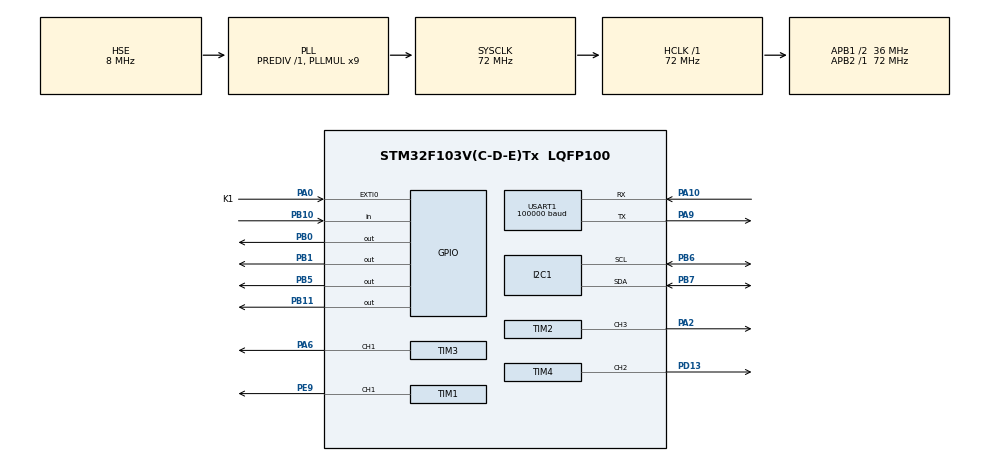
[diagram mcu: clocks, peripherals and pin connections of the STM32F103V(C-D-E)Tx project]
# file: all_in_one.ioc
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Mcu.Family=STM32F1
Mcu.Name=STM32F103V(C-D-E)Tx
Mcu.Package=LQFP100
NVIC.EXTI0_IRQn=true\:0\:0\:false\:false\:true\:true\:true
NVIC.PriorityGroup=NVIC_PRIORITYGROUP_4
NVIC.TIM6_IRQn=true\:0\:0\:false\:false\:true\:true\:true
NVIC.USART1_IRQn=true\:0\:0\:false\:false\:true\:true\:true
OSC_IN.Mode=HSE-External-Oscillator
OSC_IN.Signal=RCC_OSC_IN
OSC_OUT.Mode=HSE-External-Oscillator
OSC_OUT.Signal=RCC_OSC_OUT
PA0-WKUP.GPIO_Label=K1
PA0-WKUP.GPIO_ModeDefaultEXTI=GPIO_MODE_IT_RISING
PA0-WKUP.Signal=GPXTI0
PA10.Mode=Asynchronous
PA10.Signal=USART1_RX
PA13.Mode=Serial_Wire
PA13.Signal=SYS_JTMS-SWDIO
PA14.Mode=Serial_Wire
PA14.Signal=SYS_JTCK-SWCLK
PA2.Signal=S_TIM2_CH3
PA6.Signal=S_TIM3_CH1
PA9.Mode=Asynchronous
PA9.Signal=USART1_TX
PB0.Signal=GPIO_Output
PB1.Signal=GPIO_Output
PB10.Signal=GPIO_Input
PB11.GPIO_PuPd=GPIO_PULLDOWN
PB11.GPIO_Speed=GPIO_SPEED_FREQ_HIGH
PB11.Signal=GPIO_Output
PB5.Signal=GPIO_Output
PB6.Mode=I2C
PB6.Signal=I2C1_SCL
PB7.Mode=I2C
PB7.Signal=I2C1_SDA
PC14-OSC32_IN.Mode=LSE-External-Oscillator
PC14-OSC32_IN.Signal=RCC_OSC32_IN
PC15-OSC32_OUT.Mode=LSE-External-Oscillator
PC15-OSC32_OUT.Signal=RCC_OSC32_OUT
PD13.Signal=S_TIM4_CH2
PE9.Signal=S_TIM1_CH1
ProjectManager.HeapSize=0x200
ProjectManager.StackSize=0x400
ProjectManager.TargetToolchain=MDK-ARM V5
RCC.AHBFreq_Value=72000000
RCC.APB1CLKDivider=RCC_HCLK_DIV2
RCC.APB1Freq_Value=36000000
RCC.APB1TimFreq_Value=72000000
RCC.APB2Freq_Value=72000000
RCC.APB2TimFreq_Value=72000000
RCC.HCLKFreq_Value=72000000
RCC.PLLMUL=RCC_PLL_MUL9
RCC.PLLSourceVirtual=RCC_PLLSOURCE_HSE
RCC.SYSCLKFreq_VALUE=72000000
RCC.SYSCLKSource=RCC_SYSCLKSOURCE_PLLCLK
RCC.USBFreq_Value=72000000
SH.S_TIM1_CH1.0=TIM1_CH1,PWM Generation1 CH1
SH.S_TIM2_CH3.0=TIM2_CH3,PWM Generation3 CH3
SH.S_TIM3_CH1.0=TIM3_CH1,PWM Generation1 CH1
SH.S_TIM4_CH2.0=TIM4_CH2,PWM Generation2 CH2
TIM1.Channel-PWM\ Generation1\ CH1=TIM_CHANNEL_1
TIM1.Period=4000-1
TIM1.Prescaler=72-1
TIM2.Channel-PWM\ Generation3\ CH3=TIM_CHANNEL_3
TIM2.Period=4000-1
TIM2.Prescaler=72-1
TIM3.Channel-PWM\ Generation1\ CH1=TIM_CHANNEL_1
TIM3.Period=4000-1
TIM3.Prescaler=72-1
TIM4.Channel-PWM\ Generation2\ CH2=TIM_CHANNEL_2
TIM4.Period=4000-1
TIM4.Prescaler=72-1
TIM6.Period=1000-1
TIM6.Prescaler=72-1
USART1.BaudRate=100000
USART1.Parity=PARITY_EVEN
USART1.VirtualMode=VM_ASYNC
USART1.WordLength=WORDLENGTH_9B
VP_TIM1_VS_ClockSourceINT.Mode=Internal
VP_TIM2_VS_ClockSourceINT.Mode=Internal
VP_TIM3_VS_ClockSourceINT.Mode=Internal
VP_TIM4_VS_ClockSourceINT.Mode=Internal
VP_TIM6_VS_ClockSourceINT.Mode=Enable_Timer
board=custom

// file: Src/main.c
/* USER CODE BEGIN Header */
/**
  ******************************************************************************
  * @file           : main.c
  * @brief          : Main program body
  ******************************************************************************
  * @attention
  *
  * <h2><center>&copy; Copyright (c) 2021 STMicroelectronics.
  * All rights reserved.</center></h2>
  *
  * This software component is licensed by ST under BSD 3-Clause license,
  * the "License"; You may not use this file except in compliance with the
  * License. You may obtain a copy of the License at:
  *                        opensource.org/licenses/BSD-3-Clause
  *
  ******************************************************************************
  */
/* USER CODE END Header */

#include "main.h"

/* USER CODE BEGIN Includes */
#include "mpu6050.h"
#include "motors.h"
#include "sbus.h"
#include "hcsr04.h"
#include "systick.h"
/* USER CODE END Includes */

I2C_HandleTypeDef hi2c1;

TIM_HandleTypeDef htim1;
TIM_HandleTypeDef htim2;
TIM_HandleTypeDef htim3;
TIM_HandleTypeDef htim4;
TIM_HandleTypeDef htim6;

UART_HandleTypeDef huart1;

/* USER CODE BEGIN PV */
float altitude;
ScaledValue accel,gyro;
extern SBUS_CHLs_DATA Updated_datas;
extern uint8_t datas_buffer[25];

uint8_t ESC_CALIBRATION = 0;

float per_roll;
float per_pitch;
float per_throttle;
float per_yaw;
/* USER CODE END PV */

void SystemClock_Config(void);
static void MX_GPIO_Init(void);
static void MX_I2C1_Init(void);
static void MX_TIM1_Init(void);
static void MX_TIM2_Init(void);
static void MX_TIM3_Init(void);
static void MX_TIM4_Init(void);
static void MX_TIM6_Init(void);
static void MX_USART1_UART_Init(void);

int main(void)
{

  /* MCU Configuration--------------------------------------------------------*/

  /* Reset of all peripherals, Initializes the Flash interface and the Systick. */
  HAL_Init();

  /* Configure the system clock */
  SystemClock_Config();

  /* Initialize all configured peripherals */
  MX_GPIO_Init();
  MX_I2C1_Init();
  MX_TIM1_Init();
  MX_TIM2_Init();
  MX_TIM3_Init();
  MX_TIM4_Init();
  MX_TIM6_Init();
  MX_USART1_UART_Init();
  /* USER CODE BEGIN 2 */
    MPU_INIT( &hi2c1);
    MPU_CFG();

		HAL_TIM_Base_Start_IT(&htim6);
	  close_timer6();

	  HAL_UART_Receive_IT(&huart1,datas_buffer,25);

		motors_init(&htim1,&htim2,&htim3,&htim4);

  /* USER CODE END 2 */

  /* Infinite loop */
  /* USER CODE BEGIN WHILE */
  while (1)
  {

		 update_sbus(datas_buffer, &Updated_datas);
		 //calbration_channels(&Updated_datas);
		 MPU_GET_ACCEL_SCALED( &accel,&gyro);
		 altitude = Get_HS_Length_Value();

		per_roll = (Updated_datas.CH1 - MIN_OTHER_CHANNELS)/(MAX_OTHER_CHANNELS - MIN_OTHER_CHANNELS);
		per_pitch = (Updated_datas.CH2-MIN_OTHER_CHANNELS)/(MAX_OTHER_CHANNELS-MIN_OTHER_CHANNELS);
		per_throttle = (Updated_datas.CH3-MIN_THROTTLE)/(MAX_THROTTLE-MIN_THROTTLE);
		per_yaw = (Updated_datas.CH4-MIN_OTHER_CHANNELS)/(MAX_OTHER_CHANNELS-MIN_OTHER_CHANNELS);

		if(ESC_CALIBRATION == 0){

			motors_set_speed(per_throttle, per_throttle, per_throttle, per_throttle);

			HAL_GPIO_WritePin(GPIOB,GPIO_PIN_0,GPIO_PIN_SET);
		  HAL_GPIO_WritePin(GPIOB,GPIO_PIN_1,GPIO_PIN_SET);
	   	HAL_GPIO_WritePin(GPIOB,GPIO_PIN_5,GPIO_PIN_RESET);

			//do not perform any calculation until the esc is calibrated
			continue;

		}else if(ESC_CALIBRATION == 1){

	  	HAL_GPIO_WritePin(GPIOB,GPIO_PIN_0,GPIO_PIN_RESET);
		  HAL_GPIO_WritePin(GPIOB,GPIO_PIN_1,GPIO_PIN_SET);
	   	HAL_GPIO_WritePin(GPIOB,GPIO_PIN_5,GPIO_PIN_SET);

		}

		motors_set_speed( per_throttle, per_throttle, per_throttle, per_throttle);

    /* USER CODE END WHILE */

  }
}

void SystemClock_Config(void)
{
  RCC_OscInitTypeDef RCC_OscInitStruct = {0};
  RCC_ClkInitTypeDef RCC_ClkInitStruct = {0};

  /** Initializes the CPU, AHB and APB busses clocks
  */
  RCC_OscInitStruct.OscillatorType = RCC_OSCILLATORTYPE_HSE;
  RCC_OscInitStruct.HSEState = RCC_HSE_ON;
  RCC_OscInitStruct.HSEPredivValue = RCC_HSE_PREDIV_DIV1;
  RCC_OscInitStruct.HSIState = RCC_HSI_ON;
  RCC_OscInitStruct.PLL.PLLState = RCC_PLL_ON;
  RCC_OscInitStruct.PLL.PLLSource = RCC_PLLSOURCE_HSE;
  RCC_OscInitStruct.PLL.PLLMUL = RCC_PLL_MUL9;
  if (HAL_RCC_OscConfig(&RCC_OscInitStruct) != HAL_OK)
  {
    Error_Handler();
  }
  /** Initializes the CPU, AHB and APB busses clocks
  */
  RCC_ClkInitStruct.ClockType = RCC_CLOCKTYPE_HCLK|RCC_CLOCKTYPE_SYSCLK
                              |RCC_CLOCKTYPE_PCLK1|RCC_CLOCKTYPE_PCLK2;
  RCC_ClkInitStruct.SYSCLKSource = RCC_SYSCLKSOURCE_PLLCLK;
  RCC_ClkInitStruct.AHBCLKDivider = RCC_SYSCLK_DIV1;
  RCC_ClkInitStruct.APB1CLKDivider = RCC_HCLK_DIV2;
  RCC_ClkInitStruct.APB2CLKDivider = RCC_HCLK_DIV1;

  if (HAL_RCC_ClockConfig(&RCC_ClkInitStruct, FLASH_LATENCY_2) != HAL_OK)
  {
    Error_Handler();
  }
}

static void MX_I2C1_Init(void)
{

  hi2c1.Instance = I2C1;
  hi2c1.Init.ClockSpeed = 100000;
  hi2c1.Init.DutyCycle = I2C_DUTYCYCLE_2;
  hi2c1.Init.OwnAddress1 = 0;
  hi2c1.Init.AddressingMode = I2C_ADDRESSINGMODE_7BIT;
  hi2c1.Init.DualAddressMode = I2C_DUALADDRESS_DISABLE;
  hi2c1.Init.OwnAddress2 = 0;
  hi2c1.Init.GeneralCallMode = I2C_GENERALCALL_DISABLE;
  hi2c1.Init.NoStretchMode = I2C_NOSTRETCH_DISABLE;
  if (HAL_I2C_Init(&hi2c1) != HAL_OK)
  {
    Error_Handler();
  }

}

static void MX_TIM1_Init(void)
{

  TIM_ClockConfigTypeDef sClockSourceConfig = {0};
  TIM_MasterConfigTypeDef sMasterConfig = {0};
  TIM_OC_InitTypeDef sConfigOC = {0};
  TIM_BreakDeadTimeConfigTypeDef sBreakDeadTimeConfig = {0};

  htim1.Instance = TIM1;
  htim1.Init.Prescaler = 72-1;
  htim1.Init.CounterMode = TIM_COUNTERMODE_UP;
  htim1.Init.Period = 4000-1;
  htim1.Init.ClockDivision = TIM_CLOCKDIVISION_DIV1;
  htim1.Init.RepetitionCounter = 0;
  htim1.Init.AutoReloadPreload = TIM_AUTORELOAD_PRELOAD_DISABLE;
  if (HAL_TIM_Base_Init(&htim1) != HAL_OK)
  {
    Error_Handler();
  }
  sClockSourceConfig.ClockSource = TIM_CLOCKSOURCE_INTERNAL;
  if (HAL_TIM_ConfigClockSource(&htim1, &sClockSourceConfig) != HAL_OK)
  {
    Error_Handler();
  }
  if (HAL_TIM_PWM_Init(&htim1) != HAL_OK)
  {
    Error_Handler();
  }
  sMasterConfig.MasterOutputTrigger = TIM_TRGO_RESET;
  sMasterConfig.MasterSlaveMode = TIM_MASTERSLAVEMODE_DISABLE;
  if (HAL_TIMEx_MasterConfigSynchronization(&htim1, &sMasterConfig) != HAL_OK)
  {
    Error_Handler();
  }
  sConfigOC.OCMode = TIM_OCMODE_PWM1;
  sConfigOC.Pulse = 0;
  sConfigOC.OCPolarity = TIM_OCPOLARITY_HIGH;
  sConfigOC.OCNPolarity = TIM_OCNPOLARITY_HIGH;
  sConfigOC.OCFastMode = TIM_OCFAST_DISABLE;
  sConfigOC.OCIdleState = TIM_OCIDLESTATE_RESET;
  sConfigOC.OCNIdleState = TIM_OCNIDLESTATE_RESET;
  if (HAL_TIM_PWM_ConfigChannel(&htim1, &sConfigOC, TIM_CHANNEL_1) != HAL_OK)
  {
    Error_Handler();
  }
  sBreakDeadTimeConfig.OffStateRunMode = TIM_OSSR_DISABLE;
  sBreakDeadTimeConfig.OffStateIDLEMode = TIM_OSSI_DISABLE;
  sBreakDeadTimeConfig.LockLevel = TIM_LOCKLEVEL_OFF;
  sBreakDeadTimeConfig.DeadTime = 0;
  sBreakDeadTimeConfig.BreakState = TIM_BREAK_DISABLE;
  sBreakDeadTimeConfig.BreakPolarity = TIM_BREAKPOLARITY_HIGH;
  sBreakDeadTimeConfig.AutomaticOutput = TIM_AUTOMATICOUTPUT_DISABLE;
  if (HAL_TIMEx_ConfigBreakDeadTime(&htim1, &sBreakDeadTimeConfig) != HAL_OK)
  {
    Error_Handler();
  }
  HAL_TIM_MspPostInit(&htim1);

}

static void MX_TIM2_Init(void)
{

  TIM_ClockConfigTypeDef sClockSourceConfig = {0};
  TIM_MasterConfigTypeDef sMasterConfig = {0};
  TIM_OC_InitTypeDef sConfigOC = {0};

  htim2.Instance = TIM2;
  htim2.Init.Prescaler = 72-1;
  htim2.Init.CounterMode = TIM_COUNTERMODE_UP;
  htim2.Init.Period = 4000-1;
  htim2.Init.ClockDivision = TIM_CLOCKDIVISION_DIV1;
  htim2.Init.AutoReloadPreload = TIM_AUTORELOAD_PRELOAD_DISABLE;
  if (HAL_TIM_Base_Init(&htim2) != HAL_OK)
  {
    Error_Handler();
  }
  sClockSourceConfig.ClockSource = TIM_CLOCKSOURCE_INTERNAL;
  if (HAL_TIM_ConfigClockSource(&htim2, &sClockSourceConfig) != HAL_OK)
  {
    Error_Handler();
  }
  if (HAL_TIM_PWM_Init(&htim2) != HAL_OK)
  {
    Error_Handler();
  }
  sMasterConfig.MasterOutputTrigger = TIM_TRGO_RESET;
  sMasterConfig.MasterSlaveMode = TIM_MASTERSLAVEMODE_DISABLE;
  if (HAL_TIMEx_MasterConfigSynchronization(&htim2, &sMasterConfig) != HAL_OK)
  {
    Error_Handler();
  }
  sConfigOC.OCMode = TIM_OCMODE_PWM1;
  sConfigOC.Pulse = 0;
  sConfigOC.OCPolarity = TIM_OCPOLARITY_HIGH;
  sConfigOC.OCFastMode = TIM_OCFAST_DISABLE;
  if (HAL_TIM_PWM_ConfigChannel(&htim2, &sConfigOC, TIM_CHANNEL_3) != HAL_OK)
  {
    Error_Handler();
  }
  HAL_TIM_MspPostInit(&htim2);

}

static void MX_TIM3_Init(void)
{

  TIM_ClockConfigTypeDef sClockSourceConfig = {0};
  TIM_MasterConfigTypeDef sMasterConfig = {0};
  TIM_OC_InitTypeDef sConfigOC = {0};

  htim3.Instance = TIM3;
  htim3.Init.Prescaler = 72-1;
  htim3.Init.CounterMode = TIM_COUNTERMODE_UP;
  htim3.Init.Period = 4000-1;
  htim3.Init.ClockDivision = TIM_CLOCKDIVISION_DIV1;
  htim3.Init.AutoReloadPreload = TIM_AUTORELOAD_PRELOAD_DISABLE;
  if (HAL_TIM_Base_Init(&htim3) != HAL_OK)
  {
    Error_Handler();
  }
  sClockSourceConfig.ClockSource = TIM_CLOCKSOURCE_INTERNAL;
  if (HAL_TIM_ConfigClockSource(&htim3, &sClockSourceConfig) != HAL_OK)
  {
    Error_Handler();
  }
  if (HAL_TIM_PWM_Init(&htim3) != HAL_OK)
  {
    Error_Handler();
  }
  sMasterConfig.MasterOutputTrigger = TIM_TRGO_RESET;
  sMasterConfig.MasterSlaveMode = TIM_MASTERSLAVEMODE_DISABLE;
  if (HAL_TIMEx_MasterConfigSynchronization(&htim3, &sMasterConfig) != HAL_OK)
  {
    Error_Handler();
  }
  sConfigOC.OCMode = TIM_OCMODE_PWM1;
  sConfigOC.Pulse = 0;
  sConfigOC.OCPolarity = TIM_OCPOLARITY_HIGH;
  sConfigOC.OCFastMode = TIM_OCFAST_DISABLE;
  if (HAL_TIM_PWM_ConfigChannel(&htim3, &sConfigOC, TIM_CHANNEL_1) != HAL_OK)
  {
    Error_Handler();
  }
  HAL_TIM_MspPostInit(&htim3);

}

static void MX_TIM4_Init(void)
{

  TIM_ClockConfigTypeDef sClockSourceConfig = {0};
  TIM_MasterConfigTypeDef sMasterConfig = {0};
  TIM_OC_InitTypeDef sConfigOC = {0};

  htim4.Instance = TIM4;
  htim4.Init.Prescaler = 72-1;
  htim4.Init.CounterMode = TIM_COUNTERMODE_UP;
  htim4.Init.Period = 4000-1;
  htim4.Init.ClockDivision = TIM_CLOCKDIVISION_DIV1;
  htim4.Init.AutoReloadPreload = TIM_AUTORELOAD_PRELOAD_DISABLE;
  if (HAL_TIM_Base_Init(&htim4) != HAL_OK)
  {
    Error_Handler();
  }
  sClockSourceConfig.ClockSource = TIM_CLOCKSOURCE_INTERNAL;
  if (HAL_TIM_ConfigClockSource(&htim4, &sClockSourceConfig) != HAL_OK)
  {
    Error_Handler();
  }
  if (HAL_TIM_PWM_Init(&htim4) != HAL_OK)
  {
    Error_Handler();
  }
  sMasterConfig.MasterOutputTrigger = TIM_TRGO_RESET;
  sMasterConfig.MasterSlaveMode = TIM_MASTERSLAVEMODE_DISABLE;
  if (HAL_TIMEx_MasterConfigSynchronization(&htim4, &sMasterConfig) != HAL_OK)
  {
    Error_Handler();
  }
  sConfigOC.OCMode = TIM_OCMODE_PWM1;
  sConfigOC.Pulse = 0;
  sConfigOC.OCPolarity = TIM_OCPOLARITY_HIGH;
  sConfigOC.OCFastMode = TIM_OCFAST_DISABLE;
  if (HAL_TIM_PWM_ConfigChannel(&htim4, &sConfigOC, TIM_CHANNEL_2) != HAL_OK)
  {
    Error_Handler();
  }
  HAL_TIM_MspPostInit(&htim4);

}

static void MX_TIM6_Init(void)
{

  TIM_MasterConfigTypeDef sMasterConfig = {0};

  htim6.Instance = TIM6;
  htim6.Init.Prescaler = 72-1;
  htim6.Init.CounterMode = TIM_COUNTERMODE_UP;
  htim6.Init.Period = 1000-1;
  htim6.Init.AutoReloadPreload = TIM_AUTORELOAD_PRELOAD_DISABLE;
  if (HAL_TIM_Base_Init(&htim6) != HAL_OK)
  {
    Error_Handler();
  }
  sMasterConfig.MasterOutputTrigger = TIM_TRGO_RESET;
  sMasterConfig.MasterSlaveMode = TIM_MASTERSLAVEMODE_DISABLE;
  if (HAL_TIMEx_MasterConfigSynchronization(&htim6, &sMasterConfig) != HAL_OK)
  {
    Error_Handler();
  }

}

static void MX_USART1_UART_Init(void)
{

  huart1.Instance = USART1;
  huart1.Init.BaudRate = 100000;
  huart1.Init.WordLength = UART_WORDLENGTH_9B;
  huart1.Init.StopBits = UART_STOPBITS_1;
  huart1.Init.Parity = UART_PARITY_EVEN;
  huart1.Init.Mode = UART_MODE_TX_RX;
  huart1.Init.HwFlowCtl = UART_HWCONTROL_NONE;
  huart1.Init.OverSampling = UART_OVERSAMPLING_16;
  if (HAL_UART_Init(&huart1) != HAL_OK)
  {
    Error_Handler();
  }

}

static void MX_GPIO_Init(void)
{
  GPIO_InitTypeDef GPIO_InitStruct = {0};

  /* GPIO Ports Clock Enable */
  __HAL_RCC_GPIOC_CLK_ENABLE();
  __HAL_RCC_GPIOA_CLK_ENABLE();
  __HAL_RCC_GPIOB_CLK_ENABLE();
  __HAL_RCC_GPIOE_CLK_ENABLE();
  __HAL_RCC_GPIOD_CLK_ENABLE();

  /*Configure GPIO pin Output Level */
  HAL_GPIO_WritePin(GPIOB, GPIO_PIN_0|GPIO_PIN_1|GPIO_PIN_11|GPIO_PIN_5, GPIO_PIN_RESET);

  /*Configure GPIO pin : K1_Pin */
  GPIO_InitStruct.Pin = K1_Pin;
  GPIO_InitStruct.Mode = GPIO_MODE_IT_RISING;
  GPIO_InitStruct.Pull = GPIO_NOPULL;
  HAL_GPIO_Init(K1_GPIO_Port, &GPIO_InitStruct);

  /*Configure GPIO pins : PB0 PB1 PB5 */
  GPIO_InitStruct.Pin = GPIO_PIN_0|GPIO_PIN_1|GPIO_PIN_5;
  GPIO_InitStruct.Mode = GPIO_MODE_OUTPUT_PP;
  GPIO_InitStruct.Pull = GPIO_NOPULL;
  GPIO_InitStruct.Speed = GPIO_SPEED_FREQ_LOW;
  HAL_GPIO_Init(GPIOB, &GPIO_InitStruct);

  /*Configure GPIO pin : PB10 */
  GPIO_InitStruct.Pin = GPIO_PIN_10;
  GPIO_InitStruct.Mode = GPIO_MODE_INPUT;
  GPIO_InitStruct.Pull = GPIO_NOPULL;
  HAL_GPIO_Init(GPIOB, &GPIO_InitStruct);

  /*Configure GPIO pin : PB11 */
  GPIO_InitStruct.Pin = GPIO_PIN_11;
  GPIO_InitStruct.Mode = GPIO_MODE_OUTPUT_PP;
  GPIO_InitStruct.Pull = GPIO_PULLDOWN;
  GPIO_InitStruct.Speed = GPIO_SPEED_FREQ_HIGH;
  HAL_GPIO_Init(GPIOB, &GPIO_InitStruct);

  /* EXTI interrupt init*/
  HAL_NVIC_SetPriority(EXTI0_IRQn, 0, 2);
  HAL_NVIC_EnableIRQ(EXTI0_IRQn);

}

void Error_Handler(void)
{
}

/************************ (C) COPYRIGHT STMicroelectronics *****END OF FILE****/
